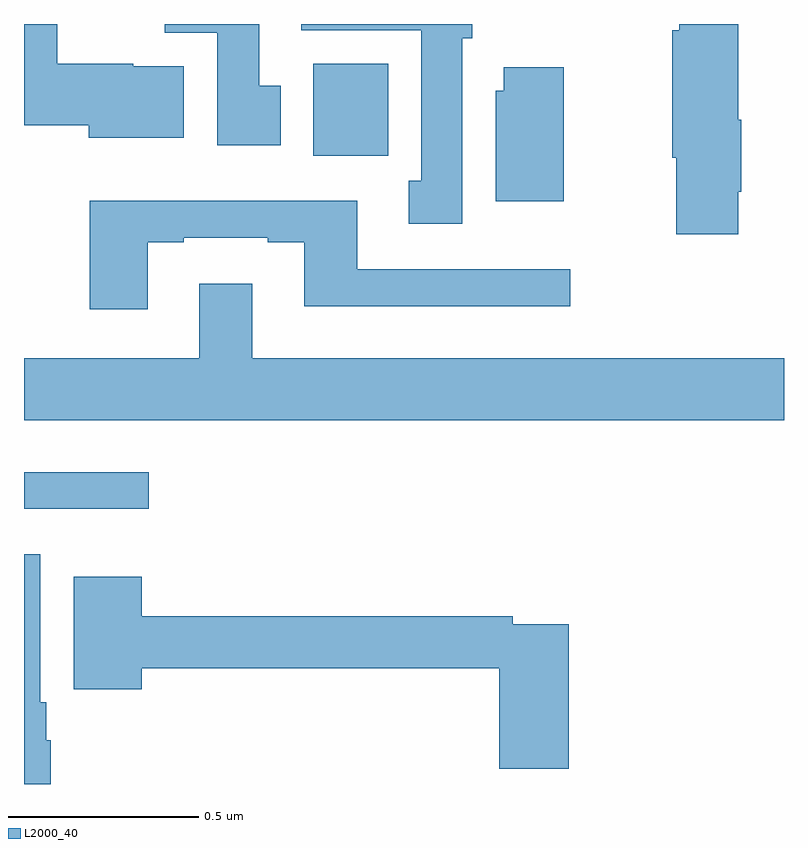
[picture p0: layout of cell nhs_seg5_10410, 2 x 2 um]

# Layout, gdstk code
import gdstk
lib = gdstk.Library(unit=1e-6, precision=1e-09)
def R(c, l, rs):  # rectangles x0, y0, x1, y1
    for r in rs: c.add(gdstk.rectangle(r[:2], r[2:], *l))
def P(c, l, *ps):  # polygons
    for p in ps: c.add(gdstk.Polygon(p, *l))
L2000_40 = (2000, 40)

nhs_seg5_10410 = lib.new_cell('nhs_seg5_10410')
R(nhs_seg5_10410, L2000_40, [(246,860.523,246.328,860.62), (246.761,861.452,246.958,861.694)])
P(nhs_seg5_10410, L2000_40, [(246.676,861.636),(246.619,861.636),(246.619,861.799),(246.37,861.799),(246.37,861.776),(246.509,861.776),(246.509,861.48),(246.676,861.48)],
  [(247.153,861.762),(247.18,861.762),(247.18,861.799),(246.729,861.799),(246.729,861.782),(247.046,861.782),(247.046,861.386),(247.013,861.386),(247.013,861.273),(247.153,861.273)],
  [(246.421,861.688),(246.288,861.688),(246.288,861.694),(246.088,861.694),(246.088,861.799),(246,861.799),(246,861.533),(246.17,861.533),(246.17,861.5),(246.421,861.5)],
  [(247.879,861.358),(247.887,861.358),(247.887,861.547),(247.879,861.547),(247.879,861.799),(247.724,861.799),(247.724,861.783),(247.706,861.783),(247.706,861.447),(247.717,861.447),(247.717,861.246),(247.879,861.246)],
  [(247.42,861.685),(247.262,861.685),(247.262,861.624),(247.241,861.624),(247.241,861.332),(247.42,861.332)],
  [(246.325,861.225),(246.421,861.225),(246.421,861.237),(246.641,861.237),(246.641,861.225),(246.737,861.225),(246.737,861.056),(247.438,861.056),(247.438,861.153),(246.877,861.153),(246.877,861.334),(246.173,861.334),(246.173,861.048),(246.325,861.048)],
  [(248,860.92),(246.601,860.92),(246.601,861.115),(246.461,861.115),(246.461,860.92),(246,860.92),(246,860.756),(248,860.756)],
  [(246.07,859.914),(246.058,859.914),(246.058,860.014),(246.043,860.014),(246.043,860.404),(246,860.404),(246,859.799),(246.07,859.799)],
  [(247.433,860.22),(247.286,860.22),(247.286,860.24),(246.31,860.24),(246.31,860.344),(246.131,860.344),(246.131,860.048),(246.31,860.048),(246.31,860.104),(247.25,860.104),(247.25,859.839),(247.433,859.839)])

lib.write_gds('nhs_seg5_10410.gds')
